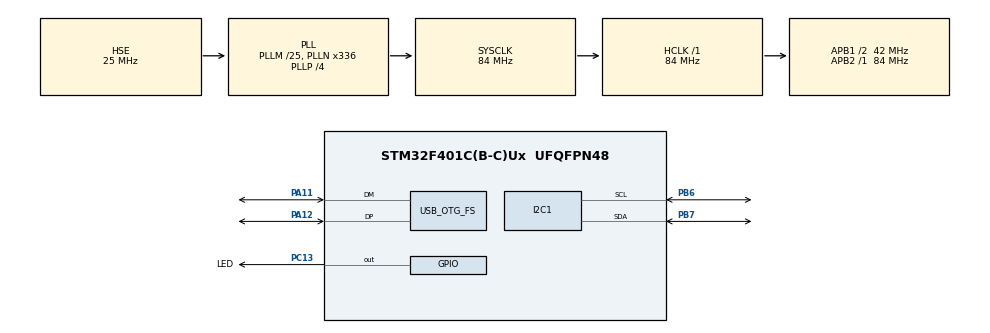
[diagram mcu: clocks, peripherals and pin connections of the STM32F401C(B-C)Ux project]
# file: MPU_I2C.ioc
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Dma.I2C1_RX.0.Direction=DMA_PERIPH_TO_MEMORY
Dma.I2C1_RX.0.FIFOMode=DMA_FIFOMODE_DISABLE
Dma.I2C1_RX.0.Instance=DMA1_Stream0
Dma.I2C1_RX.0.MemDataAlignment=DMA_MDATAALIGN_BYTE
Dma.I2C1_RX.0.MemInc=DMA_MINC_ENABLE
Dma.I2C1_RX.0.Mode=DMA_NORMAL
Dma.I2C1_RX.0.PeriphDataAlignment=DMA_PDATAALIGN_BYTE
Dma.I2C1_RX.0.PeriphInc=DMA_PINC_DISABLE
Dma.I2C1_RX.0.Priority=DMA_PRIORITY_VERY_HIGH
Dma.I2C1_TX.1.Direction=DMA_MEMORY_TO_PERIPH
Dma.I2C1_TX.1.FIFOMode=DMA_FIFOMODE_DISABLE
Dma.I2C1_TX.1.Instance=DMA1_Stream7
Dma.I2C1_TX.1.MemDataAlignment=DMA_MDATAALIGN_BYTE
Dma.I2C1_TX.1.MemInc=DMA_MINC_ENABLE
Dma.I2C1_TX.1.Mode=DMA_NORMAL
Dma.I2C1_TX.1.PeriphDataAlignment=DMA_PDATAALIGN_BYTE
Dma.I2C1_TX.1.PeriphInc=DMA_PINC_DISABLE
Dma.I2C1_TX.1.Priority=DMA_PRIORITY_VERY_HIGH
Dma.Request0=I2C1_RX
Dma.Request1=I2C1_TX
FREERTOS.Mutexes01=myMutexIMU,Dynamic,NULL
FREERTOS.Queues01=myQueueIMU,8,uint16_t,0,Dynamic,NULL,NULL
FREERTOS.Tasks01=defaultTask,48,128,StartDefaultTask,Default,NULL,Dynamic,NULL,NULL;myTaskMPU,48,128,StartTaskMPU,Default,NULL,Dynamic,NULL,NULL;myTaskFilter,48,128,StartTaskFilter,Default,NULL,Dynamic,NULL,NULL
I2C1.I2C_Mode=I2C_Fast
Mcu.Family=STM32F4
Mcu.Name=STM32F401C(B-C)Ux
Mcu.Package=UFQFPN48
NVIC.DMA1_Stream0_IRQn=true\:5\:0\:false\:false\:true\:false\:false\:true\:true
NVIC.DMA1_Stream7_IRQn=true\:5\:0\:false\:false\:true\:false\:false\:true\:true
NVIC.I2C1_EV_IRQn=true\:5\:0\:false\:false\:true\:true\:true\:true\:true
NVIC.OTG_FS_IRQn=true\:5\:0\:false\:false\:true\:true\:true\:true\:true
NVIC.PriorityGroup=NVIC_PRIORITYGROUP_4
NVIC.TIM1_UP_TIM10_IRQn=true\:5\:0\:false\:false\:true\:false\:false\:true\:true
NVIC.TimeBase=TIM1_UP_TIM10_IRQn
NVIC.TimeBaseIP=TIM1
PA11.Mode=Device_Only
PA11.Signal=USB_OTG_FS_DM
PA12.Mode=Device_Only
PA12.Signal=USB_OTG_FS_DP
PA13.Mode=Trace_Asynchronous_SW
PA13.Signal=SYS_JTMS-SWDIO
PA14.Mode=Trace_Asynchronous_SW
PA14.Signal=SYS_JTCK-SWCLK
PB3.Mode=Trace_Asynchronous_SW
PB3.Signal=SYS_JTDO-SWO
PB6.GPIO_Pu=GPIO_NOPULL
PB6.Mode=I2C
PB6.Signal=I2C1_SCL
PB7.GPIO_Pu=GPIO_NOPULL
PB7.Mode=I2C
PB7.Signal=I2C1_SDA
PC13-ANTI_TAMP.GPIO_Label=LED
PC13-ANTI_TAMP.Signal=GPIO_Output
PH0\ -\ OSC_IN.Mode=HSE-External-Oscillator
PH0\ -\ OSC_IN.Signal=RCC_OSC_IN
PH1\ -\ OSC_OUT.Mode=HSE-External-Oscillator
PH1\ -\ OSC_OUT.Signal=RCC_OSC_OUT
ProjectManager.HeapSize=0x200
ProjectManager.StackSize=0x400
ProjectManager.TargetToolchain=MDK-ARM V5.32
RCC.48MHZClocksFreq_Value=48000000
RCC.AHBFreq_Value=84000000
RCC.APB1CLKDivider=RCC_HCLK_DIV2
RCC.APB1Freq_Value=42000000
RCC.APB1TimFreq_Value=84000000
RCC.APB2Freq_Value=84000000
RCC.APB2TimFreq_Value=84000000
RCC.CortexFreq_Value=84000000
RCC.HCLKFreq_Value=84000000
RCC.HSE_VALUE=25000000
RCC.HSI_VALUE=16000000
RCC.LSE_VALUE=32768
RCC.PLLM=25
RCC.PLLN=336
RCC.PLLP=RCC_PLLP_DIV4
RCC.PLLQ=7
RCC.PLLSourceVirtual=RCC_PLLSOURCE_HSE
RCC.SYSCLKFreq_VALUE=84000000
RCC.SYSCLKSource=RCC_SYSCLKSOURCE_PLLCLK
RCC.VCOOutputFreq_Value=336000000
STMicroelectronics.X-CUBE-ALGOBUILD.1.3.0.LibraryCcDSPOoLibraryJjDSPOoLibrary=true
TIM11.Period=65535
TIM11.Prescaler=83
USB_DEVICE.CLASS_NAME_FS=CDC
USB_DEVICE.VirtualMode=Cdc
USB_DEVICE.VirtualModeFS=Cdc_FS
USB_OTG_FS.VirtualMode=Device_Only
VP_CRC_VS_CRC.Mode=CRC_Activate
VP_FREERTOS_VS_CMSIS_V2.Mode=CMSIS_V2
VP_STMicroelectronics.X-CUBE-ALGOBUILD_VS_DSPOoLibraryJjLibrary_1.3.0_1.3.0.Mode=DSPOoLibraryJjLibrary
VP_SYS_VS_tim1.Mode=TIM1
VP_TIM11_VS_ClockSourceINT.Mode=Enable_Timer
VP_USB_DEVICE_VS_USB_DEVICE_CDC_FS.Mode=CDC_FS
board=custom

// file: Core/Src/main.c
/* USER CODE BEGIN Header */
/**
  ******************************************************************************
  * @file           : main.c
  * @brief          : Main program body
  ******************************************************************************
  * @attention
  *
  * Copyright (c) 2022 STMicroelectronics.
  * All rights reserved.
  *
  * This software is licensed under terms that can be found in the LICENSE file
  * in the root directory of this software component.
  * If no LICENSE file comes with this software, it is provided AS-IS.
  *
  ******************************************************************************
  */
/* USER CODE END Header */
#include "main.h"
#include "cmsis_os.h"
#include "crc.h"
#include "dma.h"
#include "i2c.h"
#include "tim.h"
#include "usb_device.h"
#include "gpio.h"

void SystemClock_Config(void);
void MX_FREERTOS_Init(void);

int main(void)
{

  /* MCU Configuration--------------------------------------------------------*/

  /* Reset of all peripherals, Initializes the Flash interface and the Systick. */
  HAL_Init();

  /* Configure the system clock */
  SystemClock_Config();

  /* Initialize all configured peripherals */
  MX_GPIO_Init();
  MX_DMA_Init();
  MX_I2C1_Init();
  MX_CRC_Init();
  MX_TIM11_Init();
  /* USER CODE BEGIN 2 */

  /* init code for USB_DEVICE */
  MX_USB_DEVICE_Init();

  /* USER CODE END 2 */

  /* Init scheduler */
  osKernelInitialize();  /* Call init function for freertos objects (in freertos.c) */
  MX_FREERTOS_Init();

  /* Start scheduler */
  osKernelStart();

  /* We should never get here as control is now taken by the scheduler */
  /* Infinite loop */
  while (1)
  {

  }
}

void SystemClock_Config(void)
{
  RCC_OscInitTypeDef RCC_OscInitStruct = {0};
  RCC_ClkInitTypeDef RCC_ClkInitStruct = {0};

  /** Configure the main internal regulator output voltage
  */
  __HAL_RCC_PWR_CLK_ENABLE();
  __HAL_PWR_VOLTAGESCALING_CONFIG(PWR_REGULATOR_VOLTAGE_SCALE2);

  /** Initializes the RCC Oscillators according to the specified parameters
  * in the RCC_OscInitTypeDef structure.
  */
  RCC_OscInitStruct.OscillatorType = RCC_OSCILLATORTYPE_HSE;
  RCC_OscInitStruct.HSEState = RCC_HSE_ON;
  RCC_OscInitStruct.PLL.PLLState = RCC_PLL_ON;
  RCC_OscInitStruct.PLL.PLLSource = RCC_PLLSOURCE_HSE;
  RCC_OscInitStruct.PLL.PLLM = 25;
  RCC_OscInitStruct.PLL.PLLN = 336;
  RCC_OscInitStruct.PLL.PLLP = RCC_PLLP_DIV4;
  RCC_OscInitStruct.PLL.PLLQ = 7;
  if (HAL_RCC_OscConfig(&RCC_OscInitStruct) != HAL_OK)
  {
    Error_Handler();
  }

  /** Initializes the CPU, AHB and APB buses clocks
  */
  RCC_ClkInitStruct.ClockType = RCC_CLOCKTYPE_HCLK|RCC_CLOCKTYPE_SYSCLK
                              |RCC_CLOCKTYPE_PCLK1|RCC_CLOCKTYPE_PCLK2;
  RCC_ClkInitStruct.SYSCLKSource = RCC_SYSCLKSOURCE_PLLCLK;
  RCC_ClkInitStruct.AHBCLKDivider = RCC_SYSCLK_DIV1;
  RCC_ClkInitStruct.APB1CLKDivider = RCC_HCLK_DIV2;
  RCC_ClkInitStruct.APB2CLKDivider = RCC_HCLK_DIV1;

  if (HAL_RCC_ClockConfig(&RCC_ClkInitStruct, FLASH_LATENCY_2) != HAL_OK)
  {
    Error_Handler();
  }
}

void HAL_TIM_PeriodElapsedCallback(TIM_HandleTypeDef *htim)
{
  if (htim->Instance == TIM1) {
    HAL_IncTick();
  }
}

void Error_Handler(void)
{
  __disable_irq();
  while (1)
  {
  }
}

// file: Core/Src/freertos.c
/* USER CODE BEGIN Header */
/**
  ******************************************************************************
  * File Name          : freertos.c
  * Description        : Code for freertos applications
  ******************************************************************************
  * @attention
  *
  * Copyright (c) 2022 STMicroelectronics.
  * All rights reserved.
  *
  * This software is licensed under terms that can be found in the LICENSE file
  * in the root directory of this software component.
  * If no LICENSE file comes with this software, it is provided AS-IS.
  *
  ******************************************************************************
  */
/* USER CODE END Header */

#include "FreeRTOS.h"
#include "task.h"
#include "main.h"
#include "cmsis_os.h"

/* USER CODE BEGIN Includes */
#include "i2c.h"
#include "mpu6xxx_reg.h"
#include "crc.h"
#include "arm_math.h"
#include <string.h>
#include <tim.h>
#include "RingBuffer.h"
#include "usbd_cdc_if.h"
#include "MadgwickAHRS.h"
/* USER CODE END Includes */

/* USER CODE BEGIN PTD */
typedef struct imu_read
{
    uint16_t acclx;
    uint16_t accly;
    uint16_t acclz;
    uint16_t gyrox;
    uint16_t gyroy;
    uint16_t gyroz;
    uint16_t crc32h;
    uint16_t crc32l;
} imu_read_t;

typedef struct imu_real
{
    float32_t acclx; //m/ss
    float32_t accly;
    float32_t acclz;
    float32_t gyrox; //rad
    float32_t gyroy;
    float32_t gyroz;
} imu_real_t;

/* USER CODE END PTD */

/* USER CODE BEGIN PD */
#define lsm6ds3  //lsm3ds3  or  mpu6500
#define DATA_EVENT_START (0x01 << 0)
#define DATA_EVENT_END (0x01 << 0)
#define use_fifo 0
//three information can only choose one
#define print_raw_data 0
#define print_fir_data 0
#define print_raw_fir_data 0
#define print_rpy_data 1
#define print_quat_data 0
//gravity constant
#define gravity 9.7955f   // m/(s*s)
//fir
#define fir52 0
#define fir26 1
/* USER CODE END PD */

/* USER CODE BEGIN Variables */
#if fir52
	#include "fdacoefs.h"
#endif
#if fir26
	#include "fdacoefs_26.h"
#endif
uint16_t led_delay = 1000;
uint8_t status_sum = 0;
imu_read_t imu_read_data;
imu_real_t imu_real_data;
uint16_t HLdata[7];//0:temperature; 1~3 acc; 4~6 gyro
imu_real_t imu_data_fifo[52];
imu_real_t imu_data_fir;
uint64_t imu_data_counts;

//usb serial
char usb_string[200];
//MadgwickAHRS
extern volatile float32_t q0, q1, q2, q3;
extern volatile float32_t roll,pitch,yaw;

/* USER CODE END Variables */
/* Definitions for defaultTask */
osThreadId_t defaultTaskHandle;
const osThreadAttr_t defaultTask_attributes = {
    .name = "defaultTask",
    .stack_size = 128 * 4,
    .priority = (osPriority_t) osPriorityRealtime,
};
/* Definitions for myTaskMPU */
osThreadId_t myTaskMPUHandle;
const osThreadAttr_t myTaskMPU_attributes = {
    .name = "myTaskMPU",
    .stack_size = 128 * 4,
    .priority = (osPriority_t) osPriorityRealtime,
};
/* Definitions for myTaskMPU */
osThreadId_t myTaskFIRHandle;
const osThreadAttr_t myTaskFIR_attributes = {
    .name = "myTaskFIR",
    .stack_size = 128 * 16,
    .priority = (osPriority_t) osPriorityRealtime,
};
/* Definitions for myEventData */
osEventFlagsId_t myEventDataStartHandle;
const osEventFlagsAttr_t myEventDataStart_attributes = {
  .name = "myEventDataStart"
};
/* Definitions for myEventData */
osEventFlagsId_t myEventDataEndHandle;
const osEventFlagsAttr_t myEventDataEnd_attributes = {
  .name = "myEventDataEnd"
};
/* USER CODE BEGIN FunctionPrototypes */
void LedStatus(HAL_StatusTypeDef stat);
unsigned long RealNoise(unsigned long limit);
/* USER CODE END FunctionPrototypes */

void StartDefaultTask(void *argument);
void StartTaskMPU(void *argument);
void StartTaskFIR(void *argument);
extern void MX_USB_DEVICE_Init(void);
void MX_FREERTOS_Init(void); /* (MISRA C 2004 rule 8.1) */

void MX_FREERTOS_Init(void) {

    /* Create the queue(s) */

    /* Create the thread(s) */
    /* creation of defaultTask */
    defaultTaskHandle = osThreadNew(StartDefaultTask, NULL, &defaultTask_attributes);

    /* creation of myTaskMPU */
    myTaskMPUHandle = osThreadNew(StartTaskMPU, NULL, &myTaskMPU_attributes);

    /* creation of myTaskFIR */
    myTaskFIRHandle = osThreadNew(StartTaskFIR, NULL, &myTaskFIR_attributes);

		/* Create the event(s) */
		/* creation of myEventData */
		myEventDataStartHandle = osEventFlagsNew(&myEventDataStart_attributes);
		myEventDataEndHandle = osEventFlagsNew(&myEventDataEnd_attributes);

}

void StartDefaultTask(void *argument)
{
    /* USER CODE BEGIN StartDefaultTask */
    /* Infinite loop */
    for(;;)
    {
			//HAL_GPIO_TogglePin(LED_GPIO_Port, LED_Pin);
			HAL_Delay(1);
    }
    /* USER CODE END StartDefaultTask */
}

void StartTaskMPU(void *argument)
{
    /* USER CODE BEGIN StartTaskMPU */
    HAL_I2C_MspInit(&hi2c1);
    HAL_StatusTypeDef status;
    HAL_TIM_Base_MspInit(&htim11);
    uint16_t i2c_rw_delay = 100;
    uint16_t lsm_addr = 0x6B << 1;
    uint16_t lsm_reg[1] = {0x0F};
    uint8_t lsm_d[2] = {0, 0};

    //CTRL3_C
    lsm_d[0] = 0x12;
    lsm_d[1] = 0x01;
    status = HAL_I2C_Mem_Write(&hi2c1, lsm_addr, (uint16_t)lsm_d[0], 1, &lsm_d[1], 1, 5);
    HAL_Delay(10);
    status_sum |= status;

    //LSM3DS3 WHO AM I
    status = HAL_I2C_Mem_Read(&hi2c1, lsm_addr, lsm_reg[0], 1, &lsm_d[1], 1, 5);
    HAL_Delay(10);
    if( status != HAL_OK)
        LedStatus(status);
    else if (lsm_d[1] != 0x69)
        LedStatus(HAL_ERROR);
    else
        LedStatus(HAL_OK);

    //FUNC_CFG_ACCESS
    lsm_d[0] = 0x01;
    lsm_d[1] = 0x00;
    status = HAL_I2C_Mem_Write(&hi2c1, lsm_addr, (uint16_t)lsm_d[0], 1, &lsm_d[1], 1, 5);
    HAL_Delay(10);
    status_sum |= status;

    //FIFO_CTRL5
    lsm_d[0] = 0x0A;
    lsm_d[1] = 0x36; //FIFO ODR 416Hz, continus mode
    status = HAL_I2C_Mem_Write(&hi2c1, lsm_addr, (uint16_t)lsm_d[0], 1, &lsm_d[1], 1, 5);
    HAL_Delay(10);
    status_sum |= status;

    //ORIENT_CFG_G
    lsm_d[0] = 0x0B;
    lsm_d[1] = 0x00; //angular sign (+ + +),orient (x y z)
    status = HAL_I2C_Mem_Write(&hi2c1, lsm_addr, (uint16_t)lsm_d[0], 1, &lsm_d[1], 1, 5);
    HAL_Delay(10);
    status_sum |= status;

    //CTRL1_XL
    lsm_d[0] = 0x10;
    lsm_d[1] = 0x56; // 208Hz , 16g , Anti-aliasing filter bandwidth : 100Hz
    status = HAL_I2C_Mem_Write(&hi2c1, lsm_addr, (uint16_t)lsm_d[0], 1, &lsm_d[1], 1, 5);
    HAL_Delay(10);
    status_sum |= status;

    //CTRL2_G
    lsm_d[0] = 0x11;
    lsm_d[1] = 0x5C; // 208Hz , 2000dps
    status = HAL_I2C_Mem_Write(&hi2c1, lsm_addr, (uint16_t)lsm_d[0], 1, &lsm_d[1], 1, 5);
    HAL_Delay(10);
    status_sum |= status;

    //CTRL5_C
    lsm_d[0] = 0x14;
    lsm_d[1] = 0x60; // no self_test
    status = HAL_I2C_Mem_Write(&hi2c1, lsm_addr, (uint16_t)lsm_d[0], 1, &lsm_d[1], 1, 5);
    HAL_Delay(10);
    status_sum |= status;

    //CTRL6_C
    lsm_d[0] = 0x15;
    lsm_d[1] = 0x10; //
    status = HAL_I2C_Mem_Write(&hi2c1, lsm_addr, (uint16_t)lsm_d[0], 1, &lsm_d[1], 1, 5);
    HAL_Delay(10);
    status_sum |= status;

    //CTRL9_XL
    lsm_d[0] = 0x18;
    lsm_d[1] = 0x38; // acc xyz enable
    status = HAL_I2C_Mem_Write(&hi2c1, lsm_addr, (uint16_t)lsm_d[0], 1, &lsm_d[1], 1, 5);
    HAL_Delay(10);
    status_sum |= status;

    //CTRL10_C
    lsm_d[0] = 0x19;
    lsm_d[1] = 0x38; // gyro xyz enable
    status = HAL_I2C_Mem_Write(&hi2c1, lsm_addr, (uint16_t)lsm_d[0], 1, &lsm_d[1], 1, 5);
    HAL_Delay(10);
    status_sum |= status;

    if(status_sum)
    {
        LedStatus(HAL_ERROR);
        status_sum = 0;
    }
    else
    {
        LedStatus(HAL_OK);
    }

// imu data
    // accl -16g~16g  gyro  -2000dps~2000dps imu_data[x] x:1~3 accl.x.y.z, x:4~6 gyro.x.y.z
    float accl_lsb = 2047.9375f;
    float gyro_lsb = 16.3835f;
		imu_data_counts = 0;
//create imu data fifo
#if  use_fifo
    RingBuffer *imu_fifo = RingBuffer_Malloc(sizeof(imu_data_fifo));
#endif

		// calculate imu error
		imu_real_t imu_error;
		osEventFlagsSet(myEventDataEndHandle, DATA_EVENT_END);
    /* Infinite loop */
    for(;;)
    {
// wait for data process end signal
				uint32_t r_event = osEventFlagsWait(myEventDataEndHandle, DATA_EVENT_END, osFlagsWaitAll, osWaitForever);

//Temperature
//OUT_TEMP
        lsm_d[0] = 0x21;
        lsm_d[1] = 0x00; // temperature data HIGH
        status = HAL_I2C_Mem_Read_IT(&hi2c1, lsm_addr, (uint16_t)lsm_d[0], 1, &lsm_d[1], 1);
        delay_us(i2c_rw_delay);
        status_sum |= status;
        HLdata[0]  = (uint16_t)lsm_d[1] << 8;

//OUT_TEMP_L
        lsm_d[0] = 0x20;
        lsm_d[1] = 0x00; // temperature data LOW
        status = HAL_I2C_Mem_Read_IT(&hi2c1, lsm_addr, (uint16_t)lsm_d[0], 1, &lsm_d[1], 1);
        delay_us(i2c_rw_delay);
        status_sum |= status;
        HLdata[0]  |= lsm_d[1] ;

//acc
//OUTX_H_XL
        lsm_d[0] = 0x29;
        lsm_d[1] = 0x00; // acc_x data high byte
        status = HAL_I2C_Mem_Read_IT(&hi2c1, lsm_addr, (uint16_t)lsm_d[0], 1, &lsm_d[1], 1);
        delay_us(i2c_rw_delay);
        status_sum |= status;
        HLdata[1] = (uint16_t)lsm_d[1] << 8;

//OUTX_L_XL
        lsm_d[0] = 0x28;
        lsm_d[1] = 0x00; // acc_x data low byte
        status = HAL_I2C_Mem_Read_IT(&hi2c1, lsm_addr, (uint16_t)lsm_d[0], 1, &lsm_d[1], 1);
        delay_us(i2c_rw_delay);
        status_sum |= status;
        HLdata[1] |= lsm_d[1] ;

//OUTY_H_XL
        lsm_d[0] = 0x2B;
        lsm_d[1] = 0x00; // acc_y data high byte
        status = HAL_I2C_Mem_Read_IT(&hi2c1, lsm_addr, (uint16_t)lsm_d[0], 1, &lsm_d[1], 1);
        delay_us(i2c_rw_delay);
        status_sum |= status;
        HLdata[2] = (uint16_t)lsm_d[1] << 8;

//OUTY_L_XL
        lsm_d[0] = 0x2A;
        lsm_d[1] = 0x00; // acc_y data low byte
        status = HAL_I2C_Mem_Read_IT(&hi2c1, lsm_addr, (uint16_t)lsm_d[0], 1, &lsm_d[1], 1);
        delay_us(i2c_rw_delay);
        status_sum |= status;
        HLdata[2] |= lsm_d[1] ;

//OUTZ_H_XL
        lsm_d[0] = 0x2D;
        lsm_d[1] = 0x00; // acc_z data high byte
        status = HAL_I2C_Mem_Read_IT(&hi2c1, lsm_addr, (uint16_t)lsm_d[0], 1, &lsm_d[1], 1);
        delay_us(i2c_rw_delay);
        status_sum |= status;
        HLdata[3] = (uint16_t)lsm_d[1] << 8;

//OUTZ_L_XL
        lsm_d[0] = 0x2C;
        lsm_d[1] = 0x00; // acc_z data low byte
        status = HAL_I2C_Mem_Read_IT(&hi2c1, lsm_addr, (uint16_t)lsm_d[0], 1, &lsm_d[1], 1);
        delay_us(i2c_rw_delay);
        status_sum |= status;
        HLdata[3] |= lsm_d[1] ;

//GYRO
//OUTX_H_G
        lsm_d[0] = 0x23;
        lsm_d[1] = 0x00; // gyro_x data high byte
        status = HAL_I2C_Mem_Read_IT(&hi2c1, lsm_addr, (uint16_t)lsm_d[0], 1, &lsm_d[1], 1);
        delay_us(i2c_rw_delay);
        status_sum |= status;
        HLdata[4] = (uint16_t)lsm_d[1] << 8;

//OUTX_L_G
        lsm_d[0] = 0x22;
        lsm_d[1] = 0x00; // gyro_x data low byte
        status = HAL_I2C_Mem_Read_IT(&hi2c1, lsm_addr, (uint16_t)lsm_d[0], 1, &lsm_d[1], 1);
        delay_us(i2c_rw_delay);
        status_sum |= status;
        HLdata[4] |= lsm_d[1] ;

//OUTY_H_G
        lsm_d[0] = 0x25;
        lsm_d[1] = 0x00; // gyro_y data high byte
        status = HAL_I2C_Mem_Read_IT(&hi2c1, lsm_addr, (uint16_t)lsm_d[0], 1, &lsm_d[1], 1);
        delay_us(i2c_rw_delay);
        status_sum |= status;
        HLdata[5] = (uint16_t)lsm_d[1] << 8;

//OUTY_L_G
        lsm_d[0] = 0x24;
        lsm_d[1] = 0x00; // gyro_y data low byte
        status = HAL_I2C_Mem_Read_IT(&hi2c1, lsm_addr, (uint16_t)lsm_d[0], 1, &lsm_d[1], 1);
        delay_us(i2c_rw_delay);
        status_sum |= status;
        HLdata[5] |= lsm_d[1] ;

//OUTZ_H_G
        lsm_d[0] = 0x27;
        lsm_d[1] = 0x00; // gyro_z data high byte
        status = HAL_I2C_Mem_Read_IT(&hi2c1, lsm_addr, (uint16_t)lsm_d[0], 1, &lsm_d[1], 1);
        delay_us(i2c_rw_delay);
        status_sum |= status;
        HLdata[6] = (uint16_t)lsm_d[1] << 8;

//OUTZ_L_G
        lsm_d[0] = 0x26;
        lsm_d[1] = 0x00; // gyro_z data low byte
        status = HAL_I2C_Mem_Read_IT(&hi2c1, lsm_addr, (uint16_t)lsm_d[0], 1, &lsm_d[1], 1);
        delay_us(i2c_rw_delay);
        status_sum |= status;
        HLdata[6] |= lsm_d[1] ;

        if(status_sum)
        {
            LedStatus(HAL_ERROR);
            status_sum = 0;
        }
        else
        {
            LedStatus(HAL_OK);
        }
// get imu real data
        imu_real_data.acclx = -(int16_t)HLdata[1] / accl_lsb * gravity;
        imu_real_data.accly = -(int16_t)HLdata[2] / accl_lsb * gravity;
        imu_real_data.acclz = -(int16_t)HLdata[3] / accl_lsb * gravity;
        imu_real_data.gyrox = (int16_t)HLdata[4] / gyro_lsb * 0.0174532925f - 0.0492223203f; //rad
        imu_real_data.gyroy = (int16_t)HLdata[5] / gyro_lsb * 0.0174532925f + 0.0340829603f;
        imu_real_data.gyroz = (int16_t)HLdata[6] / gyro_lsb * 0.0174532925f + 0.0326923733f;

// refresh data by self
				if(imu_data_counts < num_taps)
					imu_data_fifo[imu_data_counts] = imu_real_data;
				else
				{
					for(uint16_t i=0;i<num_taps-1;i++)
					{
						imu_data_fifo[i] = imu_data_fifo[i+1];
					}
					imu_data_fifo[num_taps -1] = imu_real_data;
				}
//calculate error
				if(imu_data_counts <10000)
				{
					imu_error.acclx +=imu_real_data.acclx;
					imu_error.accly +=imu_real_data.accly;
					imu_error.acclz +=imu_real_data.acclz;
					imu_error.gyrox +=imu_real_data.gyrox;
					imu_error.gyroy +=imu_real_data.gyroy;
					imu_error.gyroz +=imu_real_data.gyroz;
				}
				else if (imu_data_counts ==10000)
				{
					imu_error.acclx /= 10000;
					imu_error.accly /= 10000;
					imu_error.acclz /= 10000;
					imu_error.gyrox /= 10000;
					imu_error.gyroy /= 10000;
					imu_error.gyroz /= 10000;
					HAL_Delay(1);
				}
				imu_data_counts ++;

//fifo
#if  use_fifo
        RingBuffer_In(imu_fifo, &imu_real_data, sizeof(imu_real_data));
#endif

// inform data process start
				osEventFlagsSet(myEventDataStartHandle, DATA_EVENT_START);
    }
    /* USER CODE END StartTaskMPU */
}

void StartTaskFIR(void *argument)
{
    /* USER CODE BEGIN StartDefaultTask */

    /* Infinite loop */
		for(;;)
    {
// wait for data process start signal
			uint32_t r_event = osEventFlagsWait(myEventDataStartHandle, DATA_EVENT_START, osFlagsWaitAll, osWaitForever);

// fir calculate by self
			for(uint16_t i=0;i<num_taps;i++)
			{
				imu_data_fir.acclx += imu_data_fifo[i].acclx * Coeffs[i];
				imu_data_fir.accly += imu_data_fifo[i].accly * Coeffs[i];
				imu_data_fir.acclz += imu_data_fifo[i].acclz * Coeffs[i];
				imu_data_fir.gyrox += imu_data_fifo[i].gyrox * Coeffs[i];
				imu_data_fir.gyroy += imu_data_fifo[i].gyroy * Coeffs[i];
				imu_data_fir.gyroz += imu_data_fifo[i].gyroz * Coeffs[i];
			}
			MadgwickAHRSupdateIMU(imu_data_fir.gyrox,imu_data_fir.gyroy,imu_data_fir.gyroz,-1.0f*imu_data_fir.acclx,-1.0f*imu_data_fir.accly,-1.0f*imu_data_fir.acclz);
#if print_raw_data
			sprintf(usb_string, "%9.5f,%9.5f,%9.5f,%9.5f,%9.5f,%9.5f,%d\r\n",
							imu_real_data.acclx,imu_real_data.accly,imu_real_data.acclz,
							imu_real_data.gyrox,imu_real_data.gyroy,imu_real_data.gyroz,
							HAL_GetTick());
#endif
#if print_fir_data
			sprintf(usb_string, "%9.5f,%9.5f,%9.5f,%9.5f,%9.5f,%9.5f,%d\r\n",
							imu_data_fir.acclx,imu_data_fir.accly,imu_data_fir.acclz,
							imu_data_fir.gyrox,imu_data_fir.gyroy,imu_data_fir.gyroz,
							HAL_GetTick());
#endif
#if print_raw_fir_data
			sprintf(usb_string, "%9.5f,%9.5f,%9.5f,%9.5f,%9.5f,%9.5f,%9.5f,%9.5f,%9.5f,%9.5f,%9.5f,%9.5f,%d\r\n",
							imu_real_data.acclx,imu_real_data.accly,imu_real_data.acclz,
							imu_real_data.gyrox,imu_real_data.gyroy,imu_real_data.gyroz,
							imu_data_fir.acclx,imu_data_fir.accly,imu_data_fir.acclz,
							imu_data_fir.gyrox,imu_data_fir.gyroy,imu_data_fir.gyroz,
							HAL_GetTick());
#endif
#if print_rpy_data
			getRPY();
			sprintf(usb_string, "%9.5f,%9.5f,%9.5f,%d\r\n",roll,pitch,yaw,HAL_GetTick());
#endif
#if print_quat_data
			sprintf(usb_string, "%9.5f,%9.5f,%9.5f,%9.5f,%d\r\n",
							q0,q1,q2,q3,HAL_GetTick());
#endif
			CDC_Transmit_FS(usb_string, sizeof(usb_string));
			imu_data_fir.acclx = 0;
			imu_data_fir.accly = 0;
			imu_data_fir.acclz = 0;
			imu_data_fir.gyrox = 0;
			imu_data_fir.gyroy = 0;
			imu_data_fir.gyroz = 0;
			HAL_GPIO_TogglePin(LED_GPIO_Port, LED_Pin);
// inform data process end
			osEventFlagsSet(myEventDataEndHandle, DATA_EVENT_END);
		}
    /* USER CODE END StartDefaultTask */
}

/* USER CODE BEGIN Application */
void LedStatus(HAL_StatusTypeDef stat)
{
    switch(stat)
    {
    case HAL_OK:
        led_delay = 1000;
        break;
    case HAL_ERROR:
        led_delay = 500;
        break;
    case HAL_BUSY:
        led_delay = 200;
        break;
    case HAL_TIMEOUT:
        led_delay = 2000;
        break;
    default:
        led_delay = 1000;
        break;
    }
}

/* USER CODE END Application */
